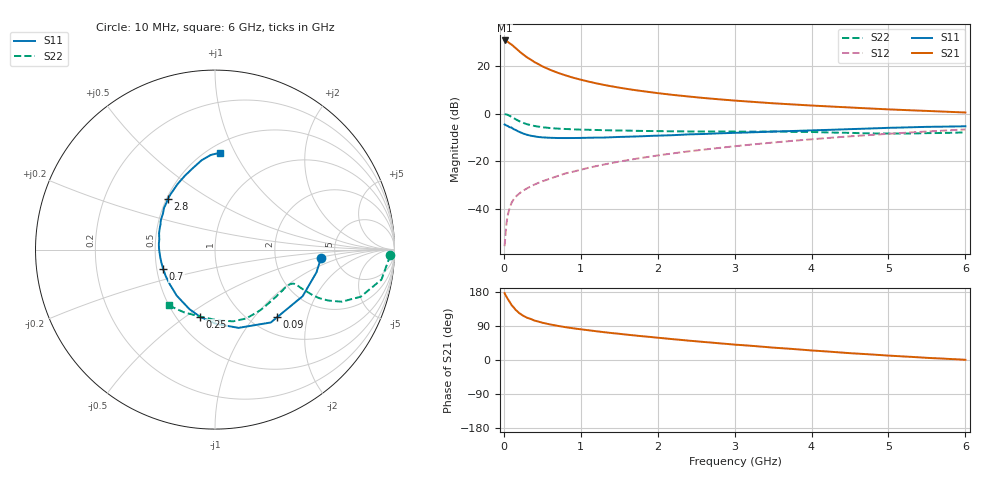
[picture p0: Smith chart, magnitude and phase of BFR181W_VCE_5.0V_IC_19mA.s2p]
! (c) 2017  Infineon Technologies AG, Munich
! Infineon Technologies  Discrete & RF Semiconductors
! BFR181W
! VCE =  5.0 V,  IC =  19 mA
! Common Emitter S-Parameters:  Jan 2017
# GHz  S  MA  R  50
!  f  S11  S21  S12  S22
! GHz  MAG  ANG  MAG  ANG  MAG  ANG  MAG  ANG
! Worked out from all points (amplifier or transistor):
!   77 points, 10 MHz to 6 GHz, reference 50 ohm
!   highest |S21| = 30.5 dB at 10 MHz (marker M1)
!   |S21| within 3 dB of that: start of sweep to 147.1 MHz
!   unconditionally stable (mu >= 1): 649.3 MHz to 2.565 GHz
!   at 130 MHz: K = 0.41, MSG = 31.9 dB, |S12| = -35.8 dB
!   at 2.2 GHz: K = 1.03, MAG = 11.1 dB, |S12| = -16.6 dB
!   at 6 GHz: K = 0.83, MSG = 3.5 dB, |S12| = -6.6 dB
!   S11 on the Smith chart (normalised r, x): 10 MHz: 3.81, -0.58; 90 MHz: 1.30, -1.32; 250 MHz: 0.65, -0.57; 700 MHz: 0.54, -0.13; 2.8 GHz: 0.51, +0.34; 6 GHz: 0.57, +0.88
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0.01  0.5919 -4.8  33.57 176.4  0.0017 87.5  0.9771 -1.8
0.02  0.5795 -12.6  33.11 171.9  0.0028 87.9  0.967 -3.8
0.05  0.5531 -28.0  31.53 161.2  0.0074 79.1  0.9425 -10.2
0.09  0.5117 -47.4  28.23 148.6  0.0123 71.6  0.8701 -16.2
0.1  0.5113 -52.6  27.65 145.0  0.0136 70.6  0.8537 -17.9
0.15  0.4555 -73.2  23.55 133.0  0.0181 67.3  0.7652 -22.3
0.2  0.414 -89.2  19.96 123.8  0.0213 64.2  0.6929 -24.2
0.25  0.3832 -102.6  17.19 117.0  0.0245 63.6  0.64 -25.0
0.3  0.3607 -113.4  14.95 111.7  0.0273 63.6  0.5985 -25.0
0.4  0.3335 -129.8  11.83 103.9  0.033 64.6  0.5482 -24.4
0.5  0.3178 -142.2  9.683 98.4  0.0384 66.8  0.5176 -23.9
0.6  0.3118 -151.9  8.21 93.9  0.0437 67.5  0.4981 -23.4
0.7  0.3081 -159.6  7.107 90.1  0.0495 69.6  0.4846 -23.3
0.9  0.308 -172.0  5.608 83.7  0.061 71.3  0.468 -24.0
1.1  0.3122 178.4  4.65 78.5  0.0735 72.5  0.4579 -25.3
1.5  0.3247 163.7  3.472 69.1  0.0993 73.2  0.4419 -29.6
2.1  0.3492 147.4  2.557 56.9  0.1402 72.0  0.4273 -39.2
2.8  0.3861 132.8  1.98 44.1  0.1915 68.9  0.4216 -52.6
3.1  0.3994 127.0  1.817 39.2  0.2153 66.9  0.4197 -58.3
4.1  0.4499 110.5  1.442 23.9  0.2986 59.4  0.4075 -78.0
5.1  0.5073 97.4  1.203 10.5  0.3862 50.0  0.382 -104.4
6  0.5417 86.8  1.051 0.6  0.4651 40.7  0.4042 -129.7
